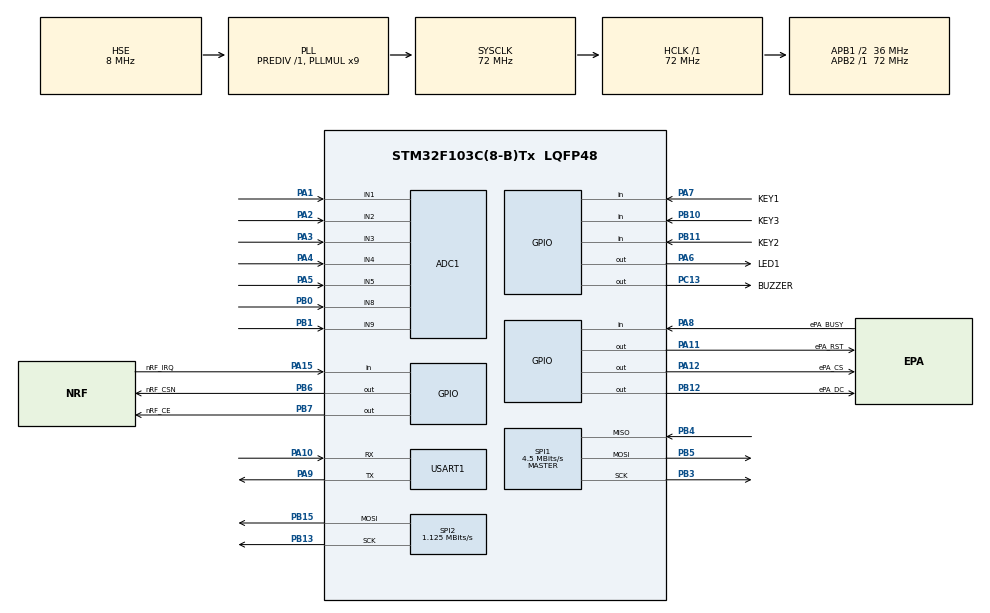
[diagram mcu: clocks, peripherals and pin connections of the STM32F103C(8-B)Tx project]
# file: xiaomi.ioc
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ADC1.Channel-0\#ChannelRegularConversion=ADC_CHANNEL_1
ADC1.Channel-1\#ChannelRegularConversion=ADC_CHANNEL_2
ADC1.Channel-2\#ChannelRegularConversion=ADC_CHANNEL_4
ADC1.Channel-3\#ChannelRegularConversion=ADC_CHANNEL_5
ADC1.Channel-4\#ChannelRegularConversion=ADC_CHANNEL_8
ADC1.Channel-5\#ChannelRegularConversion=ADC_CHANNEL_9
ADC1.Channel-6\#ChannelRegularConversion=ADC_CHANNEL_3
ADC1.ContinuousConvMode=ENABLE
ADC1.DataAlign=ADC_DATAALIGN_RIGHT
ADC1.DiscontinuousConvMode=DISABLE
ADC1.NbrOfConversion=7
ADC1.NbrOfConversionFlag=1
ADC1.Rank-0\#ChannelRegularConversion=1
ADC1.Rank-1\#ChannelRegularConversion=2
ADC1.Rank-2\#ChannelRegularConversion=3
ADC1.Rank-3\#ChannelRegularConversion=4
ADC1.Rank-4\#ChannelRegularConversion=5
ADC1.Rank-5\#ChannelRegularConversion=6
ADC1.Rank-6\#ChannelRegularConversion=7
ADC1.SamplingTime-0\#ChannelRegularConversion=ADC_SAMPLETIME_55CYCLES_5
ADC1.SamplingTime-1\#ChannelRegularConversion=ADC_SAMPLETIME_55CYCLES_5
ADC1.SamplingTime-2\#ChannelRegularConversion=ADC_SAMPLETIME_55CYCLES_5
ADC1.SamplingTime-3\#ChannelRegularConversion=ADC_SAMPLETIME_55CYCLES_5
ADC1.SamplingTime-4\#ChannelRegularConversion=ADC_SAMPLETIME_55CYCLES_5
ADC1.SamplingTime-5\#ChannelRegularConversion=ADC_SAMPLETIME_55CYCLES_5
ADC1.SamplingTime-6\#ChannelRegularConversion=ADC_SAMPLETIME_55CYCLES_5
ADC1.master=1
Dma.ADC1.0.Direction=DMA_PERIPH_TO_MEMORY
Dma.ADC1.0.Instance=DMA1_Channel1
Dma.ADC1.0.MemDataAlignment=DMA_MDATAALIGN_HALFWORD
Dma.ADC1.0.MemInc=DMA_MINC_ENABLE
Dma.ADC1.0.Mode=DMA_CIRCULAR
Dma.ADC1.0.PeriphDataAlignment=DMA_PDATAALIGN_HALFWORD
Dma.ADC1.0.PeriphInc=DMA_PINC_DISABLE
Dma.ADC1.0.Priority=DMA_PRIORITY_HIGH
Dma.Request0=ADC1
Mcu.Family=STM32F1
Mcu.Name=STM32F103C(8-B)Tx
Mcu.Package=LQFP48
NVIC.PriorityGroup=NVIC_PRIORITYGROUP_2
NVIC.TIM1_UP_IRQn=true\:0\:0\:false\:false\:true\:true\:true\:true
PA1.Signal=ADCx_IN1
PA10.Mode=Asynchronous
PA10.Signal=USART1_RX
PA11.GPIO_Label=ePA_RST
PA11.GPIO_PuPd=GPIO_NOPULL
PA11.Signal=GPIO_Output
PA12.GPIO_Label=ePA_CS
PA12.Signal=GPIO_Output
PA13.Mode=Serial_Wire
PA13.Signal=SYS_JTMS-SWDIO
PA14.Mode=Serial_Wire
PA14.Signal=SYS_JTCK-SWCLK
PA15.GPIO_Label=nRF_IRQ
PA15.GPIO_PuPd=GPIO_PULLUP
PA15.Signal=GPIO_Input
PA2.Signal=ADCx_IN2
PA3.Signal=ADCx_IN3
PA4.Signal=ADCx_IN4
PA5.Signal=ADCx_IN5
PA6.GPIO_Label=LED1
PA6.GPIO_PuPd=GPIO_PULLUP
PA6.PinState=GPIO_PIN_SET
PA6.Signal=GPIO_Output
PA7.GPIO_Label=KEY1
PA7.GPIO_PuPd=GPIO_PULLUP
PA7.Signal=GPIO_Input
PA8.GPIO_Label=ePA_BUSY
PA8.Signal=GPIO_Input
PA9.Mode=Asynchronous
PA9.Signal=USART1_TX
PB0.Signal=ADCx_IN8
PB1.Signal=ADCx_IN9
PB10.GPIO_Label=KEY3
PB10.GPIO_PuPd=GPIO_PULLUP
PB10.Signal=GPIO_Input
PB11.GPIO_Label=KEY2
PB11.GPIO_PuPd=GPIO_PULLUP
PB11.Signal=GPIO_Input
PB12.GPIO_Label=ePA_DC
PB12.Signal=GPIO_Output
PB13.Mode=TX_Only_Simplex_Unidirect_Master
PB13.Signal=SPI2_SCK
PB15.Mode=TX_Only_Simplex_Unidirect_Master
PB15.Signal=SPI2_MOSI
PB3.Mode=Full_Duplex_Master
PB3.Signal=SPI1_SCK
PB4.Mode=Full_Duplex_Master
PB4.Signal=SPI1_MISO
PB5.Mode=Full_Duplex_Master
PB5.Signal=SPI1_MOSI
PB6.GPIO_Label=nRF_CSN
PB6.GPIO_PuPd=GPIO_PULLUP
PB6.Signal=GPIO_Output
PB7.GPIO_Label=nRF_CE
PB7.GPIO_PuPd=GPIO_PULLUP
PB7.Signal=GPIO_Output
PC13-TAMPER-RTC.GPIO_Label=BUZZER
PC13-TAMPER-RTC.GPIO_PuPd=GPIO_PULLUP
PC13-TAMPER-RTC.Signal=GPIO_Output
PD0-OSC_IN.Mode=HSE-External-Oscillator
PD0-OSC_IN.Signal=RCC_OSC_IN
PD1-OSC_OUT.Mode=HSE-External-Oscillator
PD1-OSC_OUT.Signal=RCC_OSC_OUT
ProjectManager.HeapSize=0x200
ProjectManager.StackSize=0x400
ProjectManager.TargetToolchain=MDK-ARM V5.32
RCC.ADCPresc=RCC_ADCPCLK2_DIV6
RCC.AHBFreq_Value=72000000
RCC.APB1CLKDivider=RCC_HCLK_DIV2
RCC.APB1Freq_Value=36000000
RCC.APB1TimFreq_Value=72000000
RCC.APB2Freq_Value=72000000
RCC.APB2TimFreq_Value=72000000
RCC.HCLKFreq_Value=72000000
RCC.PLLMUL=RCC_PLL_MUL9
RCC.PLLSourceVirtual=RCC_PLLSOURCE_HSE
RCC.SYSCLKFreq_VALUE=72000000
RCC.SYSCLKSource=RCC_SYSCLKSOURCE_PLLCLK
RCC.USBFreq_Value=48000000
RCC.USBPrescaler=RCC_USBCLKSOURCE_PLL_DIV1_5
SH.ADCx_IN1.0=ADC1_IN1,IN1
SH.ADCx_IN2.0=ADC1_IN2,IN2
SH.ADCx_IN3.0=ADC1_IN3,IN3
SH.ADCx_IN4.0=ADC1_IN4,IN4
SH.ADCx_IN5.0=ADC1_IN5,IN5
SH.ADCx_IN8.0=ADC1_IN8,IN8
SH.ADCx_IN9.0=ADC1_IN9,IN9
SPI1.BaudRatePrescaler=SPI_BAUDRATEPRESCALER_16
SPI1.CalculateBaudRate=4.5 MBits/s
SPI1.Direction=SPI_DIRECTION_2LINES
SPI1.Mode=SPI_MODE_MASTER
SPI1.VirtualType=VM_MASTER
SPI2.BaudRatePrescaler=SPI_BAUDRATEPRESCALER_32
SPI2.CalculateBaudRate=1.125 MBits/s
SPI2.Direction=SPI_DIRECTION_2LINES
SPI2.Mode=SPI_MODE_MASTER
SPI2.VirtualType=VM_MASTER
TIM1.AutoReloadPreload=TIM_AUTORELOAD_PRELOAD_ENABLE
TIM1.Period=9999
TIM1.Prescaler=71
USART1.VirtualMode=VM_ASYNC
VP_TIM1_VS_ClockSourceINT.Mode=Internal
board=custom

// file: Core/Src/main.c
/* USER CODE BEGIN Header */
/**
  ******************************************************************************
  * @file           : main.c
  * @brief          : Main program body
  ******************************************************************************
  * @attention
  *
  * Copyright (c) 2022 STMicroelectronics.
  * All rights reserved.
  *
  * This software is licensed under terms that can be found in the LICENSE file
  * in the root directory of this software component.
  * If no LICENSE file comes with this software, it is provided AS-IS.
  *
  ******************************************************************************
  */
/* USER CODE END Header */
#include "main.h"
#include "adc.h"
#include "dma.h"
#include "spi.h"
#include "tim.h"
#include "usart.h"
#include "gpio.h"

/* USER CODE BEGIN Includes */
#include "stdio.h"
#include "nRF24L01.h"
#include "joystick.h"
#include "Remote.h"
#include "Display.h"
/* USER CODE END Includes */

/* USER CODE BEGIN PTD */
unsigned char tmp_buf[22] = {0};
unsigned char tmp_buf2[12] = {0};
 uint8_t rxData[32];
//unsigned char temp;
/* USER CODE END PTD */

void SystemClock_Config(void);

int main(void)
{

  /* MCU Configuration--------------------------------------------------------*/

  /* Reset of all peripherals, Initializes the Flash interface and the Systick. */
  HAL_Init();

  /* Configure the system clock */
  SystemClock_Config();

  /* Initialize all configured peripherals */
  MX_GPIO_Init();
  MX_DMA_Init();
  MX_ADC1_Init();
  MX_SPI1_Init();
  MX_SPI2_Init();
  MX_USART1_UART_Init();
  MX_TIM1_Init();
  /* USER CODE BEGIN 2 */
 // HAL_ADCEx_Calibration_Start(&hadc1);
  Joystick_Init();
//
  Remote_Init();
  HAL_Delay(5);

	NRF24L01_Init();
  HAL_Delay(5);
  while(NRF24L01_Check())
	{
		printf("硬件查寻不到NRF24L01无线模块\r\n");
 		HAL_Delay(1000);
	}
	HAL_Delay(5);
	printf("NRF24L01无线模块硬件连接正常\r\n");

	NRF24L01_TX_Mode();
//  NRF24L01_RX_Mode();
  HAL_Delay(5);
  printf("进入数据发送模式，每1s发送一次数据\r\n");

//  Display_test();
//   EPD_test();
  HAL_TIM_Base_Start_IT(&htim1);

//  HAL_GPIO_WritePin(BUZZER_GPIO_Port, BUZZER_Pin, GPIO_PIN_SET);
//  HAL_Delay(5);
//  HAL_GPIO_WritePin(BUZZER_GPIO_Port, BUZZER_Pin, GPIO_PIN_RESET);
  Display_Init();

//  	HAL_Delay(100);
//  Display_test();
//  int temp = 0;
  /* USER CODE END 2 */

  /* Infinite loop */
  /* USER CODE BEGIN WHILE */
  while (1)
  {

   EPD_test();
//   NRF24L01_RxPacket(rxData);

//    Remote_Transmit();
//  HAL_GPIO_TogglePin(LED1_GPIO_Port,LED1_Pin);
//    printf("ch1:%d\t ch2:%d\t ch3:%d\t ch4:%d\t ch5:%d\t ch6:%d KeyL:%x  KeyR:%x\r\n",Remote.ch1,Remote.ch2,Remote.ch3,Remote.ch4,Remote.ch5,Remote.ch6,Remote.KeyPressedJumpL,Remote.KeyPressedJumpR);
    HAL_Delay(10);
  //  printf("ch1:%d\t ch2:%d\t ch3:%d\t ch4:%d\t ch5:%d\t ch6:%d \r\n",Joystick.Lx,Joystick.Ly,Joystick.Lz,Joystick.Rx,Joystick.Ry,Joystick.Rz);
 //printf("d:%d, %d, %d, %d, %d, %d \r\n",Joystick.Lx,Joystick.JoystickBuff[0],Joystick.Lz,Joystick.Rx,Joystick.Ry,Joystick.Rz);
 //    printf("d:%d, %d, %d, %d, %d, %d, %d \r\n",Joystick.Lx, Joystick.ADCBuff[0],Joystick.ADCBuff[7],Joystick.ADCBuff[14],Joystick.ADCBuff[21],Joystick.ADCBuff[28],Joystick.ADCBuff[35]);
//
    /* USER CODE END WHILE */

  }
}

void SystemClock_Config(void)
{
  RCC_OscInitTypeDef RCC_OscInitStruct = {0};
  RCC_ClkInitTypeDef RCC_ClkInitStruct = {0};
  RCC_PeriphCLKInitTypeDef PeriphClkInit = {0};

  /** Initializes the RCC Oscillators according to the specified parameters
  * in the RCC_OscInitTypeDef structure.
  */
  RCC_OscInitStruct.OscillatorType = RCC_OSCILLATORTYPE_HSE;
  RCC_OscInitStruct.HSEState = RCC_HSE_ON;
  RCC_OscInitStruct.HSEPredivValue = RCC_HSE_PREDIV_DIV1;
  RCC_OscInitStruct.HSIState = RCC_HSI_ON;
  RCC_OscInitStruct.PLL.PLLState = RCC_PLL_ON;
  RCC_OscInitStruct.PLL.PLLSource = RCC_PLLSOURCE_HSE;
  RCC_OscInitStruct.PLL.PLLMUL = RCC_PLL_MUL9;
  if (HAL_RCC_OscConfig(&RCC_OscInitStruct) != HAL_OK)
  {
    Error_Handler();
  }

  /** Initializes the CPU, AHB and APB buses clocks
  */
  RCC_ClkInitStruct.ClockType = RCC_CLOCKTYPE_HCLK|RCC_CLOCKTYPE_SYSCLK
                              |RCC_CLOCKTYPE_PCLK1|RCC_CLOCKTYPE_PCLK2;
  RCC_ClkInitStruct.SYSCLKSource = RCC_SYSCLKSOURCE_PLLCLK;
  RCC_ClkInitStruct.AHBCLKDivider = RCC_SYSCLK_DIV1;
  RCC_ClkInitStruct.APB1CLKDivider = RCC_HCLK_DIV2;
  RCC_ClkInitStruct.APB2CLKDivider = RCC_HCLK_DIV1;

  if (HAL_RCC_ClockConfig(&RCC_ClkInitStruct, FLASH_LATENCY_2) != HAL_OK)
  {
    Error_Handler();
  }
  PeriphClkInit.PeriphClockSelection = RCC_PERIPHCLK_ADC;
  PeriphClkInit.AdcClockSelection = RCC_ADCPCLK2_DIV6;
  if (HAL_RCCEx_PeriphCLKConfig(&PeriphClkInit) != HAL_OK)
  {
    Error_Handler();
  }
}

void Error_Handler(void)
{
  __disable_irq();
  while (1)
  {
  }
}
